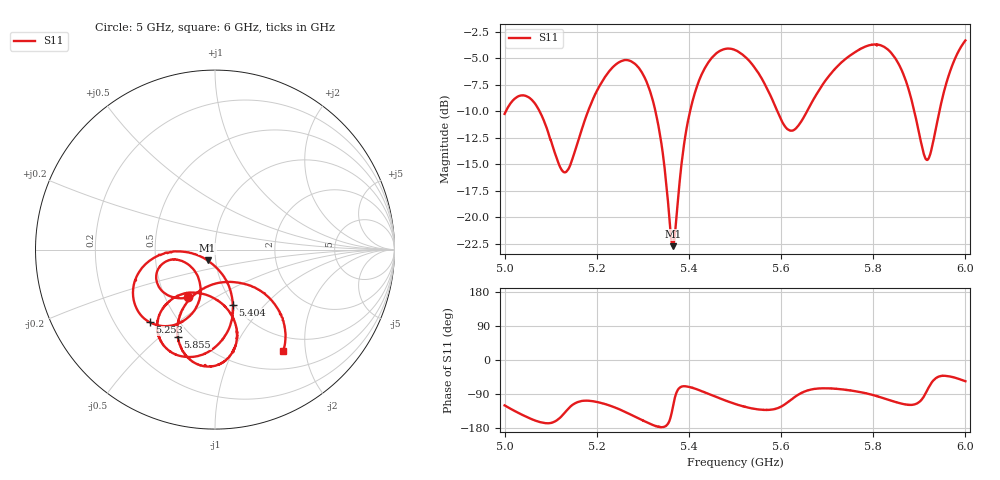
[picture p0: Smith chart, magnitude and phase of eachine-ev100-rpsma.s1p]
# HZ S RI R 50
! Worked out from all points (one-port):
!   2020 points, 5 GHz to 6 GHz, reference 50 ohm
!   lowest |S11| = -22.7 dB at 5.365 GHz (marker M1), VSWR 1.16, Z = 45.7 - j5.54 ohm
!   |S11| at or under -10 dB: 5.076 GHz to 5.181 GHz (105.3 MHz wide, 2.05 % of centre); 5.327 GHz to 5.403 GHz (75.2 MHz wide, 1.4 % of centre); 5.592 GHz to 5.657 GHz (64.62 MHz wide, 1.15 % of centre)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
!   S11 on the Smith chart (normalised r, x): 5 GHz: 0.65, -0.38; 5.253 GHz: 0.35, -0.40; 5.404 GHz: 0.99, -0.68; 5.855 GHz: 0.43, -0.57; 6 GHz: 0.76, -1.61
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5e9  -0.1525 -0.2664
5.059435e9  -0.3272 -0.1425
5.094106e9  -0.2465 -0.0557
5.12531e9  -0.1376 -0.092
5.141654e9  -0.0981 -0.1442
5.183754e9  -0.0995 -0.3115
5.220902e9  -0.2152 -0.4163
5.250124e9  -0.3539 -0.409
5.2526e9  -0.3639 -0.4048
5.287766e9  -0.4572 -0.2398
5.319465e9  -0.3642 -0.0617
5.340763e9  -0.2188 -0.0102
5.365032e9  -0.0412 -0.0602
5.375434e9  0.0203 -0.1135
5.388311e9  0.0755 -0.1983
5.403665e9  0.1003 -0.3082
5.45369e9  -0.0474 -0.5748
5.500248e9  -0.2699 -0.5519
5.554235e9  -0.305 -0.3515
5.625062e9  -0.053 -0.2506
5.687469e9  0.1078 -0.3989
5.750372e9  0.1029 -0.5706
5.809312e9  -0.0655 -0.6485
5.855374e9  -0.208 -0.4844
5.875186e9  -0.1926 -0.3633
5.918277e9  0.0415 -0.1821
5.963349e9  0.3399 -0.3145
6.000001e9  0.3806 -0.5656
